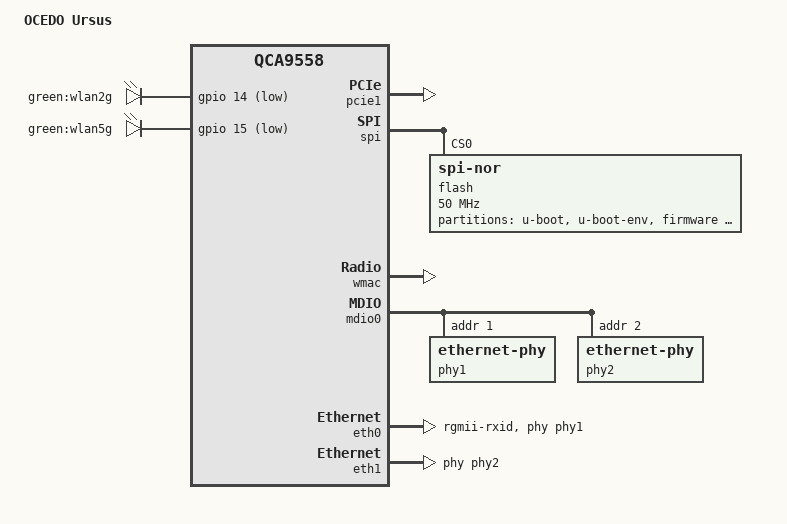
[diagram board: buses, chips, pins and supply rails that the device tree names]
// SPDX-License-Identifier: GPL-2.0-or-later OR MIT

#include "qca955x.dtsi"

#include <dt-bindings/gpio/gpio.h>
#include <dt-bindings/input/input.h>

/ {
	compatible = "ocedo,ursus", "qca,qca9558";
	model = "OCEDO Ursus";

	leds {
		compatible = "gpio-leds";

		wifi2 {
			label = "green:wlan2g";
			gpios = <&gpio 14 GPIO_ACTIVE_LOW>;
			linux,default-trigger = "phy1tpt";
		};

		wifi5 {
			label = "green:wlan5g";
			gpios = <&gpio 15 GPIO_ACTIVE_LOW>;
			linux,default-trigger = "phy0tpt";
		};
	};
};

&pcie1 {
	status = "okay";
};

&pll {
	clocks = <&extosc>;
};

&spi {
	status = "okay";

	flash@0 {
		compatible = "jedec,spi-nor";
		reg = <0>;
		spi-max-frequency = <50000000>;

		partitions {
			compatible = "fixed-partitions";
			#address-cells = <1>;
			#size-cells = <1>;

			uboot: partition@0 {
				label = "u-boot";
				reg = <0x000000 0x040000>;
				read-only;
			};

			partition@40000 {
				label = "u-boot-env";
				reg = <0x040000 0x010000>;
			};

			partition@50000 {
				compatible = "denx,uimage";
				label = "firmware";
				reg = <0x050000 0x740000>;
			};

			partition@790000 {
				label = "vendor";
				reg = <0x790000 0x740000>;
				read-only;
			};

			partition@ed0000 {
				label = "data";
				reg = <0xed0000 0x110000>;
				read-only;
			};

			partition@fe0000 {
				label = "id";
				reg = <0xfe0000 0x010000>;
				read-only;
			};

			art: partition@ff0000 {
				label = "art";
				reg = <0xff0000 0x010000>;
				read-only;
			};
		};
	};
};

&wmac {
	status = "okay";

	mtd-cal-data = <&art 0x1000>;
	nvmem-cells = <&macaddr_art_6>;
	nvmem-cell-names = "mac-address";
};

&mdio0 {
	status = "okay";

	phy1: ethernet-phy@1 {
		reg = <1>;
	};

	phy2: ethernet-phy@2 {
		reg = <2>;
		at803x-override-sgmii-link-check;
	};
};

&eth0 {
	status = "okay";
	nvmem-cells = <&macaddr_art_0>;
	nvmem-cell-names = "mac-address";

	phy-mode = "rgmii-rxid";
	phy-handle = <&phy1>;
	pll-data = <0x8e000000 0x80000101 0x80001313>;

	gmac_config: gmac-config {
		device = <&gmac>;

		rxdv-delay = <3>;
		rxd-delay = <3>;
		txen-delay = <0>;
		txd-delay = <0>;
		rgmii-enabled = <1>;
	};
};

&eth1 {
	status = "okay";
	nvmem-cells = <&macaddr_art_12>;
	nvmem-cell-names = "mac-address";
	phy-handle = <&phy2>;
	pll-data = <0x3000101 0x101 0x1313>;
	qca955x-sgmii-fixup;
};

&art {
	compatible = "nvmem-cells";
	#address-cells = <1>;
	#size-cells = <1>;

	macaddr_art_0: macaddr@0 {
		reg = <0x0 0x6>;
	};

	macaddr_art_6: macaddr@6 {
		reg = <0x6 0x6>;
	};

	macaddr_art_12: macaddr@12 {
		reg = <0x12 0x6>;
	};
};
